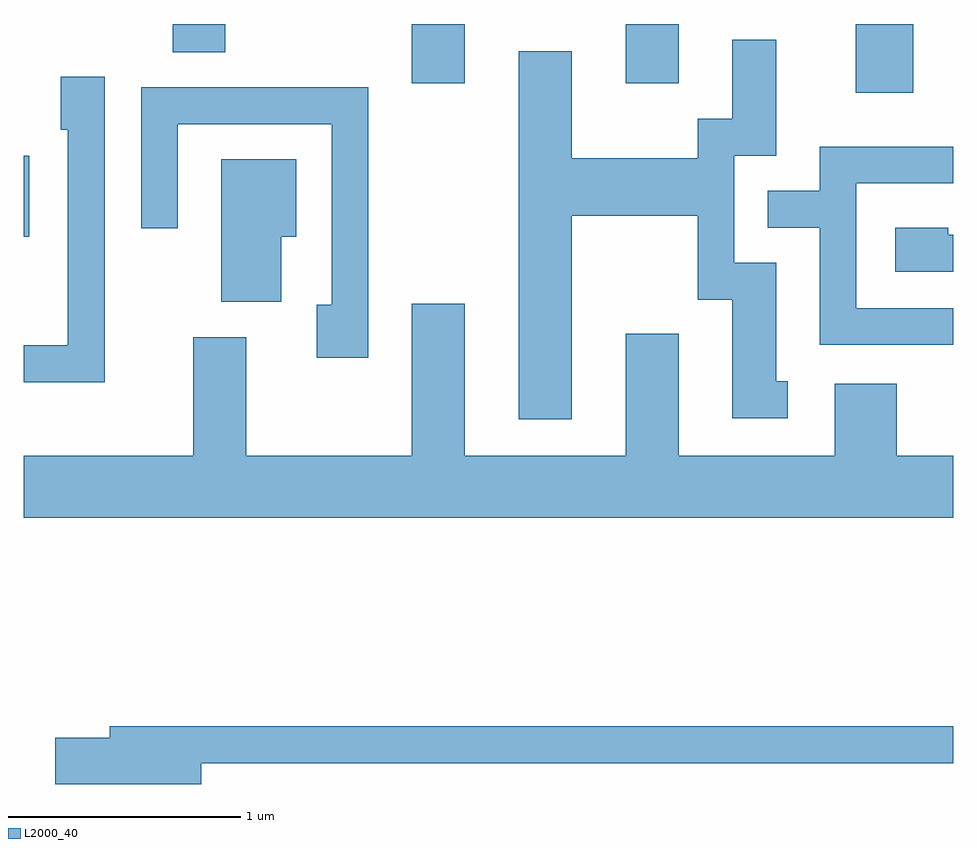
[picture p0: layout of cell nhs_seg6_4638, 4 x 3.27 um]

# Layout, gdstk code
import gdstk
lib = gdstk.Library(unit=1e-6, precision=1e-09)
def R(c, l, rs):  # rectangles x0, y0, x1, y1
    for r in rs: c.add(gdstk.rectangle(r[:2], r[2:], *l))
def P(c, l, *ps):  # polygons
    for p in ps: c.add(gdstk.Polygon(p, *l))
L2000_40 = (2000, 40)

nhs_seg6_4638 = lib.new_cell('nhs_seg6_4638')
R(nhs_seg6_4638, L2000_40, [(327.611,1551.246,327.634,1551.594), (331.191,1551.866,331.439,1552.162), (329.281,1551.906,329.509,1552.162), (330.201,1551.906,330.429,1552.162), (328.251,1552.041,328.479,1552.162)])
P(nhs_seg6_4638, L2000_40, [(329.969,1551.336),(330.511,1551.336),(330.511,1550.976),(330.661,1550.976),(330.661,1550.466),(330.898,1550.466),(330.898,1550.624),(330.849,1550.624),(330.849,1551.134),(330.669,1551.134),(330.669,1551.596),(330.849,1551.596),(330.849,1552.094),(330.661,1552.094),(330.661,1551.754),(330.511,1551.754),(330.511,1551.584),(329.969,1551.584),(329.969,1552.044),(329.741,1552.044),(329.741,1550.461),(329.969,1550.461)],
  [(327.959,1551.934),(327.771,1551.934),(327.771,1551.706),(327.801,1551.706),(327.801,1550.779),(327.611,1550.779),(327.611,1550.621),(327.959,1550.621)],
  [(329.094,1551.889),(328.116,1551.889),(328.116,1551.283),(328.274,1551.283),(328.274,1551.731),(328.936,1551.731),(328.936,1550.954),(328.871,1550.954),(328.871,1550.726),(329.094,1550.726)],
  [(331.611,1550.939),(331.194,1550.939),(331.194,1551.476),(331.611,1551.476),(331.611,1551.634),(331.036,1551.634),(331.036,1551.444),(330.813,1551.444),(330.813,1551.286),(331.036,1551.286),(331.036,1550.781),(331.611,1550.781)],
  [(328.719,1551.246),(328.784,1551.246),(328.784,1551.579),(328.461,1551.579),(328.461,1550.966),(328.719,1550.966)],
  [(331.611,1551.254),(331.589,1551.254),(331.589,1551.284),(331.361,1551.284),(331.361,1551.096),(331.611,1551.096)],
  [(331.611,1550.304),(331.369,1550.304),(331.369,1550.614),(331.101,1550.614),(331.101,1550.304),(330.429,1550.304),(330.429,1550.829),(330.201,1550.829),(330.201,1550.304),(329.509,1550.304),(329.509,1550.959),(329.281,1550.959),(329.281,1550.304),(328.569,1550.304),(328.569,1550.814),(328.341,1550.814),(328.341,1550.304),(327.611,1550.304),(327.611,1550.036),(331.611,1550.036)],
  [(328.374,1548.981),(331.611,1548.981),(331.611,1549.139),(327.981,1549.139),(327.981,1549.089),(327.746,1549.089),(327.746,1548.891),(328.374,1548.891)])

lib.write_gds('nhs_seg6_4638.gds')
